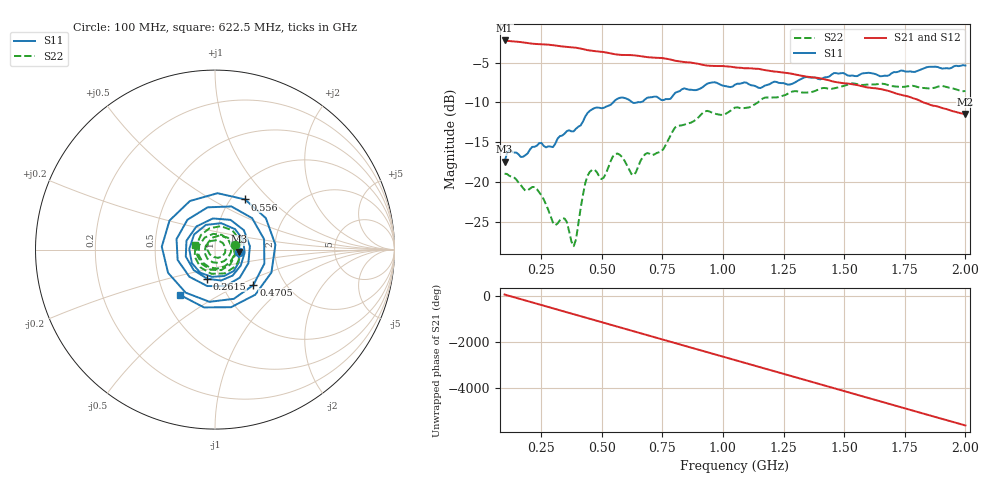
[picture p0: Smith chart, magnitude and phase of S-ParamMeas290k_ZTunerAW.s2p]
!Keysight Technologies,N5242B,MY48420967,A.15.65.19
!Date: Thursday, December 22, 2022 14:09:05
!Correction: S11(C  2-Port  )
!S21(C  2-Port  )
!S12(C  2-Port  )
!S22(C  2-Port  )
!S2P File: Measurements: S11, S21, S12, S22:
# Hz S  dB  R 50
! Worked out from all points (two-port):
!   201 points, 100 MHz to 2 GHz, reference 50 ohm
!   highest |S21| = -2.22 dB at 100 MHz (marker M1); lowest = -11.5 dB at 2 GHz (marker M2)
!   |S21| within 3 dB of the highest: start of sweep to 907.3 MHz
!   lowest |S11| = -17.5 dB at 100 MHz (marker M3), VSWR 1.31, Z = 65.4 - j1.48 ohm
!   |S11| at or under -10 dB: start of sweep to 548 MHz; 627.3 MHz to 647.7 MHz (20.34 MHz wide, 3.19 % of centre)
!   |S22| runs from -28.1 to -7.6 dB; largest |S21 - S12| = 0.0028
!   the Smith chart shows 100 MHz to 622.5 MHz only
!   S11 on the Smith chart (normalised r, x): 100 MHz: 1.31, -0.03; 261.5 MHz: 0.87, -0.29; 470.5 MHz: 1.39, -0.60; 556 MHz: 1.16, +0.72; 622.5 MHz: 0.60, -0.34
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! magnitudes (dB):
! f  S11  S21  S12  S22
! 100 MHz  -17.5  -2.2  -2.2  -19.0
! 119 MHz  -16.0  -2.3  -2.3  -19.2
! 176 MHz  -16.9  -2.5  -2.4  -20.8
! 223.5 MHz  -15.6  -2.6  -2.6  -20.7
! 261.5 MHz  -15.5  -2.7  -2.7  -22.2
! 309 MHz  -15.2  -2.9  -2.8  -25.5
! 356.5 MHz  -13.6  -3.0  -3.0  -25.0
! 385 MHz  -13.6  -3.1  -3.1  -28.1
! 394.5 MHz  -13.3  -3.1  -3.1  -27.2
! 423 MHz  -12.4  -3.3  -3.3  -21.6
! 442 MHz  -11.3  -3.4  -3.4  -19.2
! 470.5 MHz  -10.7  -3.6  -3.5  -18.5
! 508.5 MHz  -10.7  -3.7  -3.7  -19.5
! 556 MHz  -9.7  -4.0  -3.9  -16.5
! 622.5 MHz  -9.9  -4.1  -4.0  -19.0
! 679.5 MHz  -9.6  -4.3  -4.3  -16.5
! 736.5 MHz  -9.5  -4.4  -4.4  -16.3
! 812.5 MHz  -8.7  -4.8  -4.8  -13.0
! 1.05 GHz  -7.8  -5.6  -5.6  -10.7
! 1.373 GHz  -6.9  -6.9  -6.9  -8.6
! 1.687 GHz  -6.6  -8.6  -8.6  -7.9
! 2 GHz  -5.4  -11.5  -11.4  -8.6
